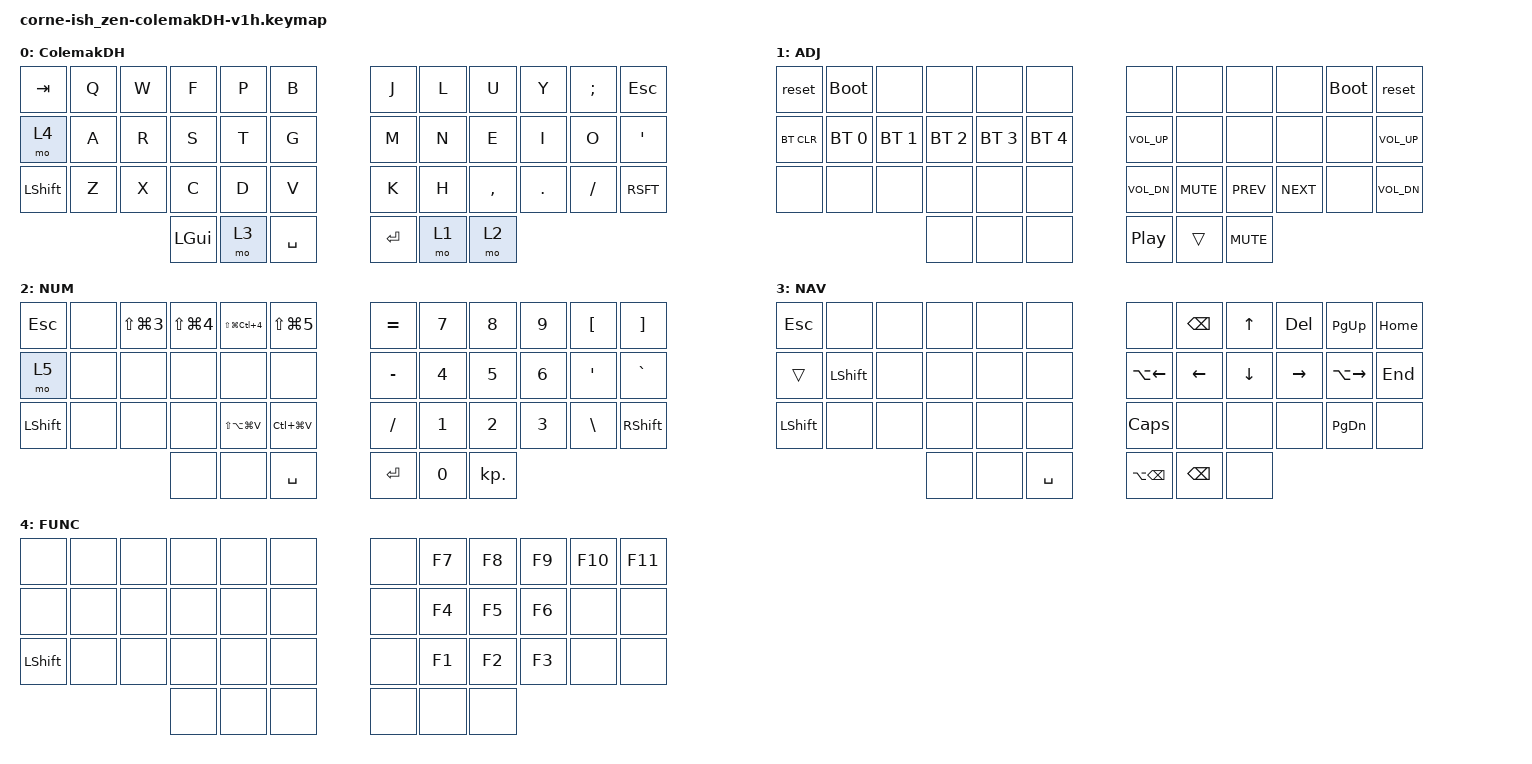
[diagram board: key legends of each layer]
/*
*
* Copyright (c) 2021 Darryl deHaan
* SPDX-License-Identifier: MIT
*
*/

#include <behaviors.dtsi>
#include <dt-bindings/zmk/keys.h>
#include <dt-bindings/zmk/bt.h>

&mt {
     tapping-term-ms = <400>;
 };
 
/ {
        keymap {
                compatible = "zmk,keymap";

                default_layer {
                        label = "ColemakDH";
// -----------------------------------------------------------------------------------------
// |  TAB |  Q  |  W  |  F  |  P  |  B  |   |  J  |  L   |  U  |  Y  |  ;  | ESC |
// | MO-4 |  A  |  R  |  S  |  T  |  G  |   |  M  |  N   |  E  |  I  |  O  |  '   |
// | SHFT |  Z  |  X  |  C  |  D  |  V  |   |  K  |  H   |  ,  |  .  |  /  | RSFT |
//                    | GUI | MO-3| SPC |   | ENT | MO-1 | MO-2 |
                        bindings = <
   &kp TAB   &kp Q &kp W &kp F &kp P &kp B    &kp J &kp L &kp U    &kp Y   &kp SEMI    &kp ESC
   &mo 4 &kp A &kp R &kp S &kp T &kp G    &kp M &kp N &kp E &kp I &kp O &kp APOS
   &kp LSHFT &kp Z &kp X &kp C &kp D &kp V    &kp K &kp H &kp CMMA &kp DOT &kp FSLH &kp RSFT
                   &kp LGUI &mo 3 &kp SPACE   &kp ENTER  &mo 1 &mo 2
                        >;
                };

                mods_layer {
                        label = "MODS";
// -----------------------------------------------------------------------------------------
// |  TAB |  Q  |  W  |  F  |  P  |  B  |   |  J  |  L   |  U  |  Y  |  ;  | ESC |
// | MO-4 |  A  |  R  |  S  |  T  |  G  |   |  M  |  N   |  E  |  I  |  O  |  '   |
// | SHFT |  Z  |  X  |  C  |  D  |  V  |   |  K  |  H   |  ,  |  .  |  /  | RSFT |
//                    | GUI | MO-3| SPC |   | ENT | MO-1 | MO-2 |

   &kp TAB   &kp Q &kp W &kp F &kp P &kp B    &kp J &kp L &kp U    &kp Y   &kp SEMI    &kp BSPC
   &mo 4 &mt LSHFT A &mt LCTRL R &mt LALT S &mt LGUI T &kp G    &kp M &mt LGUI N &mt LALT E &mt LCTRL I &mt LSHFT O &kp APOS
   &kp LSHFT &kp Z &kp X &kp C &kp D &kp V    &kp K &kp H &kp CMMA &kp DOT &kp FSLH &kp RSFT
                   &kp LGUI &mo 2 &kp SPACE   &kp ENTER &kp BSPC &trans
                        >;
                };
                
                adj_layer {
                        label = "ADJ";
// -----------------------------------------------------------------------------------------
// | RESET|boot |     |     |     |     |   |     |     |     |     |     |boot |RESET
// | BTCLR| BT1 | BT2 | BT3 | BT4 | BT5 |   | Vol+|     |     |     |     |      |Vol+
// |      |     |     |     |     |     |   | Vol-| MUTE| PREV| NEXT|     |      |Vol-
//                    |     |     |     |   | Play|     | MUTE|
                        bindings = <
   &reset     &bootloader  &none        &none        &none        &none         &none        &none      &none      &none      &bootloader &reset
   &bt BT_CLR &bt BT_SEL 0 &bt BT_SEL 1 &bt BT_SEL 2 &bt BT_SEL 3 &bt BT_SEL 4  &kp C_VOL_UP &none      &none      &none      &none &kp C_VOL_UP
   &none      &none        &none        &none        &none        &none         &kp C_VOL_DN &kp K_MUTE &kp C_PREV &kp C_NEXT &none &kp C_VOL_DN
                          	        	&none     	 &none        &none      	&kp C_PP     &trans &kp K_MUTE 
                        >;
                };

                num_layer {
                        label = "NUM";
// -----------------------------------------------------------------------------------------
// |  ESC |     |SG-3 |SG-4 |SGC4 |SG-5 |   |  =  |  7  |  8  |  9  |  [  | ]    |
// |MO-5  |     |     |     |     |     |   |  -  |  4  |  5  |  6  |  '  |  `   |
// | SHFT |     |     |     |SAG-V| CG-V|   |  /  |  1  |  2  |  3  |  \  |  SHFT|
//                    |     |     | SPC |   | ENT |  0  |  .   |
                        bindings = <
   &kp ESC   &none  &kp LS(LG(N3)) &kp LS(LG(N4)) &kp LS(LG(LC(N4))) &kp LS(LG(N5))     &kp EQUAL   &kp N7 &kp N8 &kp N9 &kp LBKT &kp RBKT
   &mo 5 	 &none 	&none 		   &none 		  &none 			 &none    			&kp MINUS 	&kp N4 &kp N5 &kp N6 &kp APOS  &kp GRAVE
   &kp LSHFT &none  &none    	   &none 		  &kp LS(LA(LG(V)))  &kp LC(LG(V)) 		&kp FSLH    &kp N1 &kp N2 &kp N3 &kp BSLH &kp RSHFT
              										&none &none 	 &kp SPACE    		&kp ENTER 	&kp N0 &kp KP_DOT
                        >;
                };
                
                nav_layer {
                        label = "NAV";
// -----------------------------------------------------------------------------------------
// |  ESC |     |     |     |     |     |   |     |BSPC | UP  | Del |PgUp | Home |
// |      |SHFT |     |     |     |     |   |A-Lft|Left |Down |Rght |A-Rgt| End  |
// | SHFT |     |     |     |     |     |   |Caps |     |     |     |     |      |
//                    | GUI |     | SPC |   |A-BS |     |     |
                        bindings = <
   &kp ESC   &none   &none  &none    &none    &none       &none     &kp BSPC  &kp UP  	&kp DEL &kp PG_UP &kp HOME
   &trans &kp LSHFT  &none  &none    &none    &none       &kp LA(LEFT) &kp LEFT &kp DOWN  &kp RIGHT &kp LA(RIGHT) &kp END
   &kp LSHFT &none   &none  &none    &none    &none       &kp CAPS &none  &none  &none &kp PG_DN &none
                    	     &none &none   &kp SPACE   &kp LA(BSPC)   &kp BSPC    &none
                        >;
                };
                
                func_layer {
                        label = "FUNC";
// -----------------------------------------------------------------------------------------
// |      |     |     |     |     |     |   |     |  F7 |  F8 | F9  | F10 | F11  |
// |      |     |     |     |     |     |   |     |  F4 |  F5 | F6  |     |      |
// | SHFT |     |     |     |     |     |   |     |  F1 |  F2 | F3  |     |      |
//                    |     |     |     |   |     |     |     |
                        bindings = <
   &none 	 &none &none &none &none &none   &none &kp F7 &kp F8 &kp F9 &kp F10 &kp F11
   &none 	 &none &none &none &none &none   &none &kp F4 &kp F5 &kp F6 &none 	&none
   &kp LSHFT &none &none &none &none &none   &none &kp F1 &kp F2 &kp F3 &none 	&none
                		 &none &none &none   &none &none &none
                        >;
                };
        };
};
